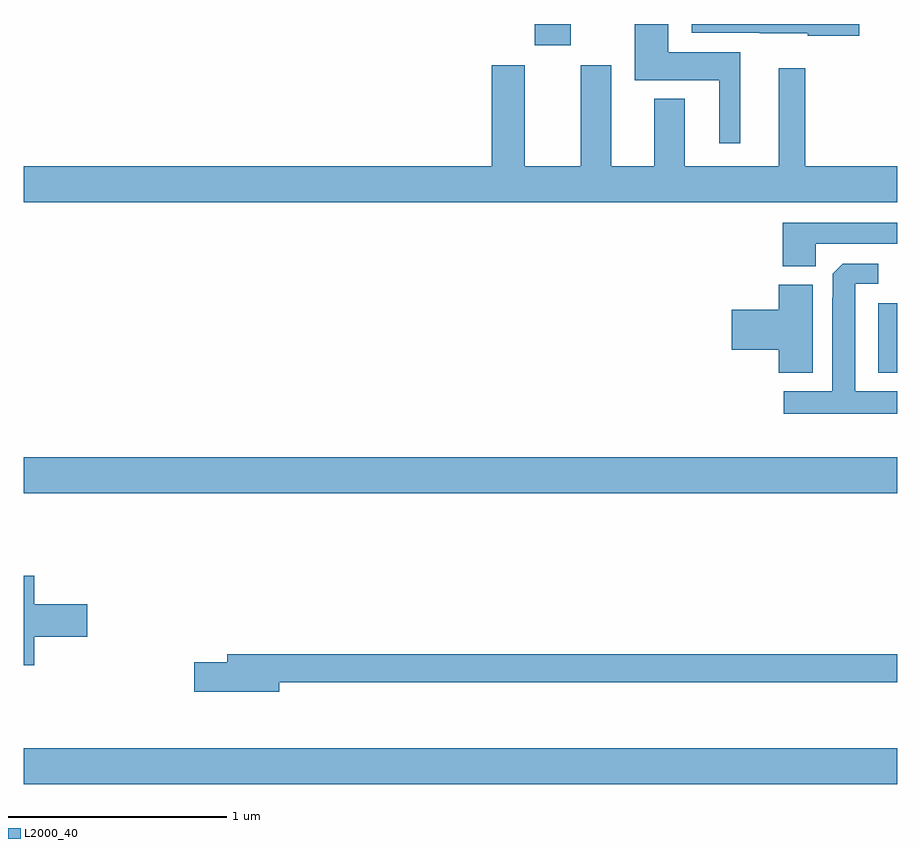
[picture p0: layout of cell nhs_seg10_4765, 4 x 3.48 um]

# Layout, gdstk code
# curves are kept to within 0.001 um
import gdstk
lib = gdstk.Library(unit=1e-6, precision=1e-09)
def R(c, l, rs):  # rectangles x0, y0, x1, y1
    for r in rs: c.add(gdstk.rectangle(r[:2], r[2:], *l))
def P(c, l, *ps):  # polygons
    for p in ps: c.add(gdstk.Polygon(p, *l))
L2000_40 = (2000, 40)

nhs_seg10_4765 = lib.new_cell('nhs_seg10_4765')
R(nhs_seg10_4765, L2000_40, [(385,1263.02,389,1263.184), (385,1264.352,389,1264.516), (388.913,1264.904,389,1265.221), (387.341,1266.402,387.505,1266.5)])
P(nhs_seg10_4765, L2000_40, [(388.282,1266.37),(387.952,1266.37),(387.952,1266.5),(387.799,1266.5),(387.799,1266.242),(388.184,1266.242),(388.184,1265.955),(388.282,1265.955)],
  [(388.825,1266.5),(388.059,1266.5),(388.059,1266.459),(388.371,1266.459),(388.371,1266.458),(388.59,1266.458),(388.59,1266.446),(388.825,1266.446)],
  [(389,1265.848),(388.579,1265.848),(388.579,1266.298),(388.457,1266.298),(388.457,1265.848),(388.027,1265.848),(388.027,1266.157),(387.887,1266.157),(387.887,1265.848),(387.691,1265.848),(387.691,1266.31),(387.551,1266.31),(387.551,1265.848),(387.295,1265.848),(387.295,1266.31),(387.143,1266.31),(387.143,1265.848),(385,1265.848),(385,1265.684),(389,1265.684)],
  [(388.626,1265.493),(389,1265.493),(389,1265.589),(388.475,1265.589),(388.475,1265.39),(388.626,1265.39)],
  [(389,1264.819),(388.807,1264.819),(388.807,1265.31),(388.912,1265.31),(388.912,1265.403),(388.75,1265.403),(388.704,1265.357),(388.703,1264.819),(388.479,1264.819),(388.479,1264.715),(389,1264.715)],
  [(388.612,1265.305),(388.457,1265.305),(388.457,1265.192),(388.242,1265.192),(388.242,1265.009),(388.457,1265.009),(388.457,1264.904),(388.612,1264.904)],
  [(385.048,1263.695),(385.291,1263.695),(385.291,1263.842),(385.048,1263.842),(385.048,1263.973),(385,1263.973),(385,1263.563),(385.048,1263.563)],
  [(386.17,1263.486),(389,1263.486),(389,1263.614),(385.931,1263.614),(385.931,1263.578),(385.782,1263.578),(385.782,1263.443),(386.17,1263.443)])

lib.write_gds('nhs_seg10_4765.gds')
